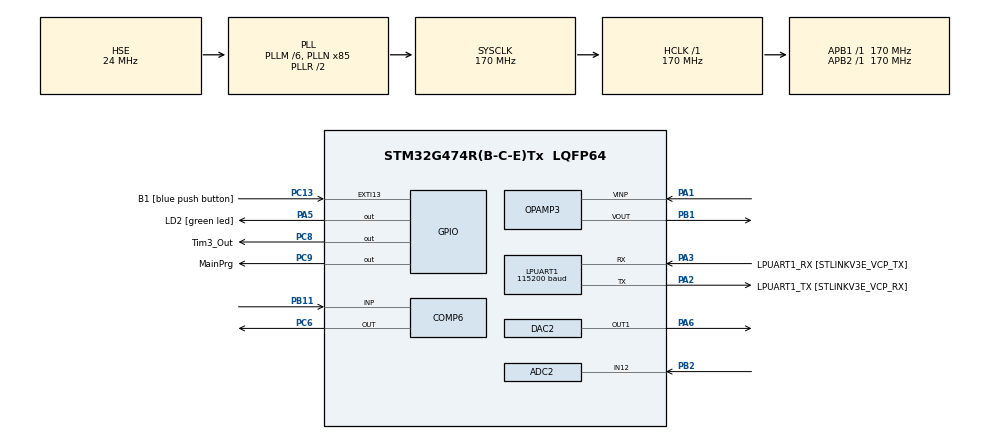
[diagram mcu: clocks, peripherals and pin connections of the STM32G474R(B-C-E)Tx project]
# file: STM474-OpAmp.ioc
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ADC2.Channel-2\#ChannelRegularConversion=ADC_CHANNEL_12
ADC2.ClockPrescaler=ADC_CLOCK_ASYNC_DIV1
ADC2.ContinuousConvMode=DISABLE
ADC2.DMAContinuousRequests=ENABLE
ADC2.ExternalTrigConv=ADC_EXTERNALTRIG_T3_TRGO
ADC2.NbrOfConversion=1
ADC2.NbrOfConversionFlag=1
ADC2.OffsetNumber-2\#ChannelRegularConversion=ADC_OFFSET_NONE
ADC2.Overrun=ADC_OVR_DATA_OVERWRITTEN
ADC2.Rank-2\#ChannelRegularConversion=1
ADC2.Resolution=ADC_RESOLUTION_8B
ADC2.SamplingTime-2\#ChannelRegularConversion=ADC_SAMPLETIME_47CYCLES_5
Dma.ADC2.0.Direction=DMA_PERIPH_TO_MEMORY
Dma.ADC2.0.EventEnable=DISABLE
Dma.ADC2.0.Instance=DMA1_Channel1
Dma.ADC2.0.MemDataAlignment=DMA_MDATAALIGN_HALFWORD
Dma.ADC2.0.MemInc=DMA_MINC_ENABLE
Dma.ADC2.0.Mode=DMA_CIRCULAR
Dma.ADC2.0.PeriphDataAlignment=DMA_PDATAALIGN_HALFWORD
Dma.ADC2.0.PeriphInc=DMA_PINC_DISABLE
Dma.ADC2.0.Polarity=HAL_DMAMUX_REQ_GEN_RISING
Dma.ADC2.0.Priority=DMA_PRIORITY_HIGH
Dma.ADC2.0.RequestNumber=1
Dma.ADC2.0.SignalID=NONE
Dma.ADC2.0.SyncEnable=DISABLE
Dma.ADC2.0.SyncPolarity=HAL_DMAMUX_SYNC_NO_EVENT
Dma.ADC2.0.SyncRequestNumber=1
Dma.ADC2.0.SyncSignalID=NONE
Dma.Request0=ADC2
LPUART1.BaudRate=115200
LPUART1.WordLength=UART_WORDLENGTH_8B
Mcu.Family=STM32G4
Mcu.Name=STM32G474R(B-C-E)Tx
Mcu.Package=LQFP64
NVIC.DMA1_Channel1_IRQn=true\:0\:0\:false\:false\:true\:false\:true
NVIC.EXTI15_10_IRQn=true\:0\:0\:false\:false\:true\:true\:true
NVIC.PriorityGroup=NVIC_PRIORITYGROUP_4
NVIC.TIM3_IRQn=true\:0\:0\:false\:false\:true\:true\:true
OPAMP3.PgaGain=OPAMP_PGA_GAIN_2_OR_MINUS_1
OPAMP3.PowerMode=OPAMP_POWERMODE_NORMAL
PA1.Mode=PGA Not Connected
PA1.Signal=OPAMP3_VINP
PA13.GPIO_Label=T_SWDIO
PA13.Mode=Serial_Wire
PA13.Signal=SYS_JTMS-SWDIO
PA14.GPIO_Label=T_SWCLK
PA14.Mode=Serial_Wire
PA14.Signal=SYS_JTCK-SWCLK
PA2.GPIO_Label=LPUART1_TX [STLINKV3E_VCP_RX]
PA2.Mode=Asynchronous
PA2.Signal=LPUART1_TX
PA3.GPIO_Label=LPUART1_RX [STLINKV3E_VCP_TX]
PA3.Mode=Asynchronous
PA3.Signal=LPUART1_RX
PA5.GPIO_Label=LD2 [green led]
PA5.Signal=GPIO_Output
PA6.Signal=COMP_DAC21_group
PB1.Mode=PGA Not Connected
PB1.Signal=OPAMP3_VOUT
PB11.Mode=INP
PB11.Signal=COMP6_INP
PB2.Mode=IN12-Single-Ended
PB2.Signal=ADC2_IN12
PB3.GPIO_Label=T_SWO
PB3.Signal=SYS_JTDO-SWO
PC13.GPIO_Label=B1 [blue push button]
PC13.Signal=GPXTI13
PC14-OSC32_IN.Mode=LSE-External-Oscillator
PC14-OSC32_IN.Signal=RCC_OSC32_IN
PC15-OSC32_OUT.Mode=LSE-External-Oscillator
PC15-OSC32_OUT.Signal=RCC_OSC32_OUT
PC6.Mode=ExternalOutput
PC6.Signal=COMP6_OUT
PC8.GPIO_Label=Tim3_Out
PC8.Signal=GPIO_Output
PC9.GPIO_Label=MainPrg
PC9.Signal=GPIO_Output
PF0-OSC_IN.Mode=HSE-External-Oscillator
PF0-OSC_IN.Signal=RCC_OSC_IN
PF1-OSC_OUT.Mode=HSE-External-Oscillator
PF1-OSC_OUT.Signal=RCC_OSC_OUT
ProjectManager.HeapSize=0x200
ProjectManager.StackSize=0x400
ProjectManager.TargetToolchain=MDK-ARM V5.27
RCC.ADC12Freq_Value=170000000
RCC.ADC345Freq_Value=170000000
RCC.AHBFreq_Value=170000000
RCC.APB1Freq_Value=170000000
RCC.APB1TimFreq_Value=170000000
RCC.APB2Freq_Value=170000000
RCC.APB2TimFreq_Value=170000000
RCC.CortexFreq_Value=170000000
RCC.EXTERNAL_CLOCK_VALUE=12288000
RCC.HCLKFreq_Value=170000000
RCC.HSE_VALUE=24000000
RCC.HSI48_VALUE=48000000
RCC.HSI_VALUE=16000000
RCC.PLLM=RCC_PLLM_DIV6
RCC.PLLN=85
RCC.PLLP=RCC_PLLP_DIV20
RCC.PLLSourceVirtual=RCC_PLLSOURCE_HSE
RCC.RTCClockSelection=RCC_RTCCLKSOURCE_LSE
RCC.SYSCLKFreq_VALUE=170000000
RCC.SYSCLKSource=RCC_SYSCLKSOURCE_PLLCLK
RCC.USBFreq_Value=170000000
RCC.VCOOutputFreq_Value=340000000
SH.COMP_DAC21_group.0=DAC2_OUT1,DAC_OUT1
TIM3.AutoReloadPreload=TIM_AUTORELOAD_PRELOAD_ENABLE
TIM3.PeriodNoDither=3855
TIM3.Prescaler=0
TIM3.TIM_MasterOutputTrigger=TIM_TRGO_UPDATE
VP_COMP6_VS_VREFINT34.Mode=VREFINT_34
VP_SYS_VS_DBSignals.Mode=DisableDeadBatterySignals
VP_TIM3_VS_ClockSourceINT.Mode=Internal
board=NUCLEO-G474RE

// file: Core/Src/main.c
/* USER CODE BEGIN Header */
/**
  ******************************************************************************
  * @file           : main.c
  * @brief          : Main program body
  ******************************************************************************
  * @attention
  *
  * <h2><center>&copy; Copyright (c) 2021 STMicroelectronics.
  * All rights reserved.</center></h2>
  *
  * This software component is licensed by ST under BSD 3-Clause license,
  * the "License"; You may not use this file except in compliance with the
  * License. You may obtain a copy of the License at:
  *                        opensource.org/licenses/BSD-3-Clause
  *
  ******************************************************************************
  */
/* USER CODE END Header */

#include "main.h"

/* USER CODE BEGIN Includes */
#include "opamp.h"

/* USER CODE END Includes */

ADC_HandleTypeDef hadc2;
DMA_HandleTypeDef hdma_adc2;

COMP_HandleTypeDef hcomp6;

DAC_HandleTypeDef hdac2;

UART_HandleTypeDef hlpuart1;

OPAMP_HandleTypeDef hopamp3;

TIM_HandleTypeDef htim3;

/* USER CODE BEGIN PV */

uint16_t value_adc[1000];
uint16_t value_dac = 0;
uint8_t ucRise = 1;

/* USER CODE END PV */

void SystemClock_Config(void);
static void MX_GPIO_Init(void);
static void MX_DMA_Init(void);
static void MX_LPUART1_UART_Init(void);
static void MX_DAC2_Init(void);
static void MX_OPAMP3_Init(void);
static void MX_ADC2_Init(void);
static void MX_COMP6_Init(void);
static void MX_TIM3_Init(void);

int main(void)
{

  /* MCU Configuration--------------------------------------------------------*/

  /* Reset of all peripherals, Initializes the Flash interface and the Systick. */
  HAL_Init();

  /* Configure the system clock */
  SystemClock_Config();

  /* Initialize all configured peripherals */
  MX_GPIO_Init();
  MX_DMA_Init();
  MX_LPUART1_UART_Init();
  MX_DAC2_Init();
  MX_OPAMP3_Init();
  MX_ADC2_Init();
  MX_COMP6_Init();
  MX_TIM3_Init();
  /* USER CODE BEGIN 2 */

//todo
for(int i;i<100;i++)
{
value_adc[i] = 0xffff;
}

	HAL_DAC_Start(&hdac2,DAC_CHANNEL_1);
//	HAL_OPAMP_Start(&hopamp3);
//	HAL_ADCEx_Calibration_Start(&hadc2,ADC_SINGLE_ENDED);

//	HAL_ADC_Start(&hadc2);
	HAL_COMP_Start(&hcomp6);
	//HAL_TIM_Base_Start(&htim3);
	HAL_TIM_Base_Start_IT(&htim3);
	HAL_ADC_Start_DMA(&hadc2,(uint32_t*)&value_adc,50);

  /* USER CODE END 2 */

  /* Infinite loop */
  /* USER CODE BEGIN WHILE */
  while (1)
  {
    HAL_GPIO_WritePin(GPIOC,MainPrg_Pin	,GPIO_PIN_SET);
		uint32_t uwStart = HAL_GetTick();

    /* USER CODE END WHILE */

    /* USER CODE BEGIN 3 */

		HAL_DAC_SetValue(&hdac2,DAC_CHANNEL_1,DAC_ALIGN_12B_R,value_dac);

		opampHandle(&hopamp3);

		if (ucRise)
		{
			 value_dac++;
			 if(value_dac >= 500)
				{
					ucRise = 0;
				}
		}
		else
		{
			value_dac--;
			if(value_dac == 0)
			{
				ucRise = 1;
			}
		}

		if (ucRise)
		{
			hopamp3.Init.PgaGain = OPAMP_PGA_GAIN_2_OR_MINUS_1;
		}
		else
		{
			//TODO hopamp3.Init.PgaGain = OPAMP_PGA_GAIN_8_OR_MINUS_7;
		}
		HAL_OPAMP_Init(&hopamp3);
		HAL_OPAMP_Start(&hopamp3);
		//TODO: HAL_OPAMP3_Init(&hoamp3);

		//TODO: HAL_OPAMP_SetValue()

		//value_adc = HAL_ADC_GetValue(&hadc2);
		HAL_ADC_Start(&hadc2);

		HAL_GPIO_WritePin(GPIOC,MainPrg_Pin	,GPIO_PIN_RESET);
		while (HAL_GetTick() - uwStart < 3)
		{
		}

	//HAL_Delay(1);

  }
  /* USER CODE END 3 */
}

void SystemClock_Config(void)
{
  RCC_OscInitTypeDef RCC_OscInitStruct = {0};
  RCC_ClkInitTypeDef RCC_ClkInitStruct = {0};
  RCC_PeriphCLKInitTypeDef PeriphClkInit = {0};

  /** Configure the main internal regulator output voltage
  */
  HAL_PWREx_ControlVoltageScaling(PWR_REGULATOR_VOLTAGE_SCALE1_BOOST);
  /** Initializes the CPU, AHB and APB busses clocks
  */
  RCC_OscInitStruct.OscillatorType = RCC_OSCILLATORTYPE_HSE;
  RCC_OscInitStruct.HSEState = RCC_HSE_ON;
  RCC_OscInitStruct.PLL.PLLState = RCC_PLL_ON;
  RCC_OscInitStruct.PLL.PLLSource = RCC_PLLSOURCE_HSE;
  RCC_OscInitStruct.PLL.PLLM = RCC_PLLM_DIV6;
  RCC_OscInitStruct.PLL.PLLN = 85;
  RCC_OscInitStruct.PLL.PLLP = RCC_PLLP_DIV20;
  RCC_OscInitStruct.PLL.PLLQ = RCC_PLLQ_DIV2;
  RCC_OscInitStruct.PLL.PLLR = RCC_PLLR_DIV2;
  if (HAL_RCC_OscConfig(&RCC_OscInitStruct) != HAL_OK)
  {
    Error_Handler();
  }
  /** Initializes the CPU, AHB and APB busses clocks
  */
  RCC_ClkInitStruct.ClockType = RCC_CLOCKTYPE_HCLK|RCC_CLOCKTYPE_SYSCLK
                              |RCC_CLOCKTYPE_PCLK1|RCC_CLOCKTYPE_PCLK2;
  RCC_ClkInitStruct.SYSCLKSource = RCC_SYSCLKSOURCE_PLLCLK;
  RCC_ClkInitStruct.AHBCLKDivider = RCC_SYSCLK_DIV1;
  RCC_ClkInitStruct.APB1CLKDivider = RCC_HCLK_DIV1;
  RCC_ClkInitStruct.APB2CLKDivider = RCC_HCLK_DIV1;

  if (HAL_RCC_ClockConfig(&RCC_ClkInitStruct, FLASH_LATENCY_8) != HAL_OK)
  {
    Error_Handler();
  }
  /** Initializes the peripherals clocks
  */
  PeriphClkInit.PeriphClockSelection = RCC_PERIPHCLK_LPUART1|RCC_PERIPHCLK_ADC12;
  PeriphClkInit.Lpuart1ClockSelection = RCC_LPUART1CLKSOURCE_PCLK1;
  PeriphClkInit.Adc12ClockSelection = RCC_ADC12CLKSOURCE_SYSCLK;
  if (HAL_RCCEx_PeriphCLKConfig(&PeriphClkInit) != HAL_OK)
  {
    Error_Handler();
  }
}

static void MX_ADC2_Init(void)
{

  ADC_ChannelConfTypeDef sConfig = {0};

  /** Common config
  */
  hadc2.Instance = ADC2;
  hadc2.Init.ClockPrescaler = ADC_CLOCK_ASYNC_DIV1;
  hadc2.Init.Resolution = ADC_RESOLUTION_8B;
  hadc2.Init.DataAlign = ADC_DATAALIGN_RIGHT;
  hadc2.Init.GainCompensation = 0;
  hadc2.Init.ScanConvMode = ADC_SCAN_DISABLE;
  hadc2.Init.EOCSelection = ADC_EOC_SINGLE_CONV;
  hadc2.Init.LowPowerAutoWait = DISABLE;
  hadc2.Init.ContinuousConvMode = DISABLE;
  hadc2.Init.NbrOfConversion = 1;
  hadc2.Init.DiscontinuousConvMode = DISABLE;
  hadc2.Init.ExternalTrigConv = ADC_EXTERNALTRIG_T3_TRGO;
  hadc2.Init.ExternalTrigConvEdge = ADC_EXTERNALTRIGCONVEDGE_RISING;
  hadc2.Init.DMAContinuousRequests = ENABLE;
  hadc2.Init.Overrun = ADC_OVR_DATA_OVERWRITTEN;
  hadc2.Init.OversamplingMode = DISABLE;
  if (HAL_ADC_Init(&hadc2) != HAL_OK)
  {
    Error_Handler();
  }
  /** Configure Regular Channel
  */
  sConfig.Channel = ADC_CHANNEL_12;
  sConfig.Rank = ADC_REGULAR_RANK_1;
  sConfig.SamplingTime = ADC_SAMPLETIME_47CYCLES_5;
  sConfig.SingleDiff = ADC_SINGLE_ENDED;
  sConfig.OffsetNumber = ADC_OFFSET_NONE;
  sConfig.Offset = 0;
  if (HAL_ADC_ConfigChannel(&hadc2, &sConfig) != HAL_OK)
  {
    Error_Handler();
  }

}

static void MX_COMP6_Init(void)
{

  hcomp6.Instance = COMP6;
  hcomp6.Init.InputPlus = COMP_INPUT_PLUS_IO1;
  hcomp6.Init.InputMinus = COMP_INPUT_MINUS_3_4VREFINT;
  hcomp6.Init.OutputPol = COMP_OUTPUTPOL_NONINVERTED;
  hcomp6.Init.Hysteresis = COMP_HYSTERESIS_NONE;
  hcomp6.Init.BlankingSrce = COMP_BLANKINGSRC_NONE;
  hcomp6.Init.TriggerMode = COMP_TRIGGERMODE_NONE;
  if (HAL_COMP_Init(&hcomp6) != HAL_OK)
  {
    Error_Handler();
  }

}

static void MX_DAC2_Init(void)
{

  DAC_ChannelConfTypeDef sConfig = {0};

  /** DAC Initialization
  */
  hdac2.Instance = DAC2;
  if (HAL_DAC_Init(&hdac2) != HAL_OK)
  {
    Error_Handler();
  }
  /** DAC channel OUT1 config
  */
  sConfig.DAC_HighFrequency = DAC_HIGH_FREQUENCY_INTERFACE_MODE_AUTOMATIC;
  sConfig.DAC_DMADoubleDataMode = DISABLE;
  sConfig.DAC_SignedFormat = DISABLE;
  sConfig.DAC_SampleAndHold = DAC_SAMPLEANDHOLD_DISABLE;
  sConfig.DAC_Trigger = DAC_TRIGGER_NONE;
  sConfig.DAC_Trigger2 = DAC_TRIGGER_NONE;
  sConfig.DAC_OutputBuffer = DAC_OUTPUTBUFFER_ENABLE;
  sConfig.DAC_ConnectOnChipPeripheral = DAC_CHIPCONNECT_DISABLE;
  sConfig.DAC_UserTrimming = DAC_TRIMMING_FACTORY;
  if (HAL_DAC_ConfigChannel(&hdac2, &sConfig, DAC_CHANNEL_1) != HAL_OK)
  {
    Error_Handler();
  }

}

static void MX_LPUART1_UART_Init(void)
{

  hlpuart1.Instance = LPUART1;
  hlpuart1.Init.BaudRate = 115200;
  hlpuart1.Init.WordLength = UART_WORDLENGTH_8B;
  hlpuart1.Init.StopBits = UART_STOPBITS_1;
  hlpuart1.Init.Parity = UART_PARITY_NONE;
  hlpuart1.Init.Mode = UART_MODE_TX_RX;
  hlpuart1.Init.HwFlowCtl = UART_HWCONTROL_NONE;
  hlpuart1.Init.OneBitSampling = UART_ONE_BIT_SAMPLE_DISABLE;
  hlpuart1.AdvancedInit.AdvFeatureInit = UART_ADVFEATURE_NO_INIT;
  if (HAL_UART_Init(&hlpuart1) != HAL_OK)
  {
    Error_Handler();
  }
  if (HAL_UARTEx_SetTxFifoThreshold(&hlpuart1, UART_TXFIFO_THRESHOLD_1_8) != HAL_OK)
  {
    Error_Handler();
  }
  if (HAL_UARTEx_SetRxFifoThreshold(&hlpuart1, UART_RXFIFO_THRESHOLD_1_8) != HAL_OK)
  {
    Error_Handler();
  }
  if (HAL_UARTEx_DisableFifoMode(&hlpuart1) != HAL_OK)
  {
    Error_Handler();
  }

}

static void MX_OPAMP3_Init(void)
{

  hopamp3.Instance = OPAMP3;
  hopamp3.Init.PowerMode = OPAMP_POWERMODE_NORMAL;
  hopamp3.Init.Mode = OPAMP_PGA_MODE;
  hopamp3.Init.NonInvertingInput = OPAMP_NONINVERTINGINPUT_IO2;
  hopamp3.Init.InternalOutput = DISABLE;
  hopamp3.Init.TimerControlledMuxmode = OPAMP_TIMERCONTROLLEDMUXMODE_DISABLE;
  hopamp3.Init.PgaConnect = OPAMP_PGA_CONNECT_INVERTINGINPUT_NO;
  hopamp3.Init.PgaGain = OPAMP_PGA_GAIN_2_OR_MINUS_1;
  hopamp3.Init.UserTrimming = OPAMP_TRIMMING_FACTORY;
  if (HAL_OPAMP_Init(&hopamp3) != HAL_OK)
  {
    Error_Handler();
  }

}

static void MX_TIM3_Init(void)
{

  TIM_ClockConfigTypeDef sClockSourceConfig = {0};
  TIM_MasterConfigTypeDef sMasterConfig = {0};

  htim3.Instance = TIM3;
  htim3.Init.Prescaler = 0;
  htim3.Init.CounterMode = TIM_COUNTERMODE_UP;
  htim3.Init.Period = 3855;
  htim3.Init.ClockDivision = TIM_CLOCKDIVISION_DIV1;
  htim3.Init.AutoReloadPreload = TIM_AUTORELOAD_PRELOAD_ENABLE;
  if (HAL_TIM_Base_Init(&htim3) != HAL_OK)
  {
    Error_Handler();
  }
  sClockSourceConfig.ClockSource = TIM_CLOCKSOURCE_INTERNAL;
  if (HAL_TIM_ConfigClockSource(&htim3, &sClockSourceConfig) != HAL_OK)
  {
    Error_Handler();
  }
  sMasterConfig.MasterOutputTrigger = TIM_TRGO_UPDATE;
  sMasterConfig.MasterSlaveMode = TIM_MASTERSLAVEMODE_DISABLE;
  if (HAL_TIMEx_MasterConfigSynchronization(&htim3, &sMasterConfig) != HAL_OK)
  {
    Error_Handler();
  }

}

static void MX_DMA_Init(void)
{

  /* DMA controller clock enable */
  __HAL_RCC_DMAMUX1_CLK_ENABLE();
  __HAL_RCC_DMA1_CLK_ENABLE();

  /* DMA interrupt init */
  /* DMA1_Channel1_IRQn interrupt configuration */
  HAL_NVIC_SetPriority(DMA1_Channel1_IRQn, 0, 0);
  HAL_NVIC_EnableIRQ(DMA1_Channel1_IRQn);

}

static void MX_GPIO_Init(void)
{
  GPIO_InitTypeDef GPIO_InitStruct = {0};

  /* GPIO Ports Clock Enable */
  __HAL_RCC_GPIOC_CLK_ENABLE();
  __HAL_RCC_GPIOF_CLK_ENABLE();
  __HAL_RCC_GPIOA_CLK_ENABLE();
  __HAL_RCC_GPIOB_CLK_ENABLE();

  /*Configure GPIO pin Output Level */
  HAL_GPIO_WritePin(LD2_GPIO_Port, LD2_Pin, GPIO_PIN_RESET);

  /*Configure GPIO pin Output Level */
  HAL_GPIO_WritePin(GPIOC, Tim3_Out_Pin|MainPrg_Pin, GPIO_PIN_RESET);

  /*Configure GPIO pin : B1_Pin */
  GPIO_InitStruct.Pin = B1_Pin;
  GPIO_InitStruct.Mode = GPIO_MODE_IT_RISING;
  GPIO_InitStruct.Pull = GPIO_NOPULL;
  HAL_GPIO_Init(B1_GPIO_Port, &GPIO_InitStruct);

  /*Configure GPIO pin : LD2_Pin */
  GPIO_InitStruct.Pin = LD2_Pin;
  GPIO_InitStruct.Mode = GPIO_MODE_OUTPUT_PP;
  GPIO_InitStruct.Pull = GPIO_NOPULL;
  GPIO_InitStruct.Speed = GPIO_SPEED_FREQ_LOW;
  HAL_GPIO_Init(LD2_GPIO_Port, &GPIO_InitStruct);

  /*Configure GPIO pins : Tim3_Out_Pin MainPrg_Pin */
  GPIO_InitStruct.Pin = Tim3_Out_Pin|MainPrg_Pin;
  GPIO_InitStruct.Mode = GPIO_MODE_OUTPUT_PP;
  GPIO_InitStruct.Pull = GPIO_NOPULL;
  GPIO_InitStruct.Speed = GPIO_SPEED_FREQ_LOW;
  HAL_GPIO_Init(GPIOC, &GPIO_InitStruct);

  /* EXTI interrupt init*/
  HAL_NVIC_SetPriority(EXTI15_10_IRQn, 0, 0);
  HAL_NVIC_EnableIRQ(EXTI15_10_IRQn);

}

void Error_Handler(void)
{
}

/************************ (C) COPYRIGHT STMicroelectronics *****END OF FILE****/
